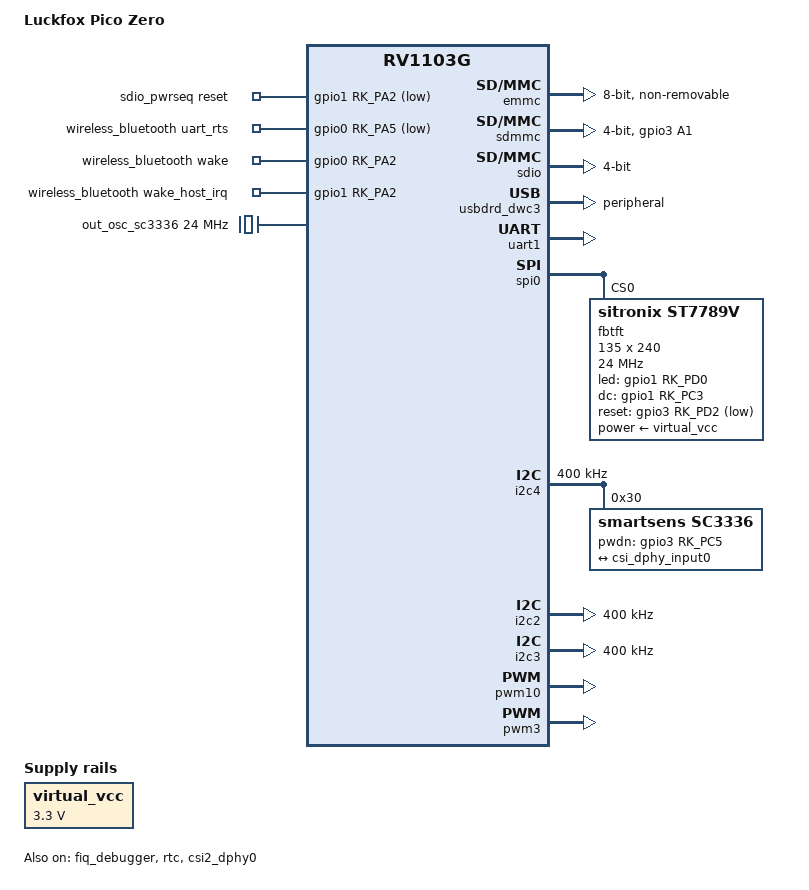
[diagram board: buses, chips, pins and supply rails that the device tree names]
// SPDX-License-Identifier: (GPL-2.0+ OR MIT)
/*
 * Copyright (c) 2022 Rockchip Electronics Co., Ltd.
 */

/dts-v1/;
#include "rv1106.dtsi"
#include "rv1106-luckfox-pico-zero-ipc.dtsi"
#include <dt-bindings/input/input.h>
#include <dt-bindings/display/media-bus-format.h>

/ {
	model = "Luckfox Pico Zero";
	compatible = "rockchip,rv1103g-38x38-ipc-v10", "rockchip,rv1106g3";

	restart-poweroff {
		compatible = "restart-poweroff";
	};

	sdio_pwrseq: sdio-pwrseq {
		compatible = "mmc-pwrseq-simple";
		pinctrl-names = "default";
		reset-gpios = <&gpio1 RK_PA2 GPIO_ACTIVE_LOW>;
	};

	wireless_bluetooth: wireless-bluetooth {
		compatible = "bluetooth-platdata";
		uart_rts_gpios = <&gpio0 RK_PA5 GPIO_ACTIVE_LOW>;
		pinctrl-names = "default", "rts_gpio";
		pinctrl-0 = <&uart1m0_rtsn>;
		pinctrl-1 = <&uart1_gpios>;
		BT,wake_gpio     = <&gpio0 RK_PA2 GPIO_ACTIVE_HIGH>;
		BT,wake_host_irq = <&gpio1 RK_PA2 GPIO_ACTIVE_HIGH>;
		status = "okay";
	};

	virtual_vcc: vcc-regulator {
		compatible = "regulator-fixed";
		regulator-name = "virtual-vcc";
		regulator-min-microvolt = <3300000>;
		regulator-max-microvolt = <3300000>;
		regulator-always-on;  // 标记为持续开启
	};

	// lcd_vcc: lcd-vcc {
	// 	compatible = "regulator-fixed";
	// 	regulator-name = "lcd-vcc";
	// 	pinctrl-names = "default";
	// 	pinctrl-0 = <&gpio3_pd1>;
	// 	regulator-min-microvolt = <3300000>;
	// 	regulator-max-microvolt = <3300000>;
	// 	regulator-always-on;  // 标记为持续开启
	// };

	adc-keys {
		status = "disabled";
	};

	out_osc_mia1321: out-osc-mia1321 {
		status = "disabled";
	};

	out_osc_imx415: out-osc-imx415 {
		status = "disabled";
	};

	out_osc_sc3336: out-osc-sc3336 {
		compatible = "fixed-clock";
		clock-output-names = "out-osc-sc3336";
		clock-frequency = <24000000>;
		#clock-cells = <0>;
	};

	cam_ircut0: cam_ircut {
		status = "disabled";
	};

};

/**********CRU**********/
&cru {
	assigned-clocks =
		<&cru PLL_GPLL>, <&cru PLL_CPLL>,
		<&cru ARMCLK>,
		<&cru ACLK_PERI_ROOT>, <&cru HCLK_PERI_ROOT>,
		<&cru PCLK_PERI_ROOT>, <&cru ACLK_BUS_ROOT>,
		<&cru PCLK_TOP_ROOT>, <&cru PCLK_PMU_ROOT>,
		<&cru HCLK_PMU_ROOT>, <&cru CLK_500M_SRC>;
	assigned-clock-rates =
		<1188000000>, <700000000>,
		<1104000000>,
		<400000000>, <200000000>,
		<100000000>, <300000000>,
		<100000000>, <100000000>,
		<200000000>, <700000000>;
};

/**********NPU**********/
&npu {
	assigned-clock-rates = <700000000>;
};

/**********EMMC**********/
&emmc {
	bus-width = <8>;
	cap-mmc-highspeed;
	non-removable;
	// mmc-hs200-1_8v;
	rockchip,default-sample-phase = <90>;
	no-sdio;
	no-sd;
	memory-region-ecsd = <&mmc_ecsd>;
	post-power-on-delay-ms = <0>;
	status = "okay";
};

&fiq_debugger {
	rockchip,irq-mode-enable = <1>;
	status = "okay";
};

/**********SDIO-WIFI**********/
&sdmmc {
	max-frequency = <50000000>;
	bus-width = <4>;
	cap-sd-highspeed;
	cap-sdio-irq;
	keep-power-in-suspend;
	//non-removable;
	rockchip,default-sample-phase = <90>;
	// no-sd;
	// no-mmc;
	supports-sdio;
	mmc-pwrseq = <&sdio_pwrseq>;
	pinctrl-names = "default";
	pinctrl-0 = <&sdmmc0_clk &sdmmc0_cmd &sdmmc0_bus4 &sdmmc0_det>;
	status = "okay";
};

&pinctrl{
	sdmmc0{
		sdmmc0_det: sdmmc0-det {
			rockchip,pins =
				/* sdmmc0_det */
				<3 RK_PA1 1 &pcfg_pull_up>;
		};
	};
};

/**********SD_CARD**********/
&sdio {
	max-frequency = <50000000>;
	no-sdio;
	no-mmc;
	supports-sd;
	bus-width = <4>;
	cap-mmc-highspeed;
	cap-sd-highspeed;
	disable-wp;
	pinctrl-names = "default";
	pinctrl-0 = <&sdmmc1m0_cmd &sdmmc1m0_clk &sdmmc1m0_bus4>;
	status = "okay";
};

/**********ETH**********/
&gmac {
	status = "disabled";
};

/**********USB**********/
&usbdrd_dwc3 {
	status = "okay";
	dr_mode = "peripheral";
	//dr_mode = "host";
};

/**********RTC**********/
&rtc {
	status = "okay";
};

/**********BT**********/
&uart1 {
	status = "okay";
	pinctrl-names = "default";
	pinctrl-0 = <&uart1m0_xfer &uart1m0_ctsn>;
};

&pinctrl {
	wireless-bluetooth {
		uart1_gpios: uart1-gpios {
			rockchip,pins = <0 RK_PA5 RK_FUNC_GPIO &pcfg_pull_none>;
		};
	};
};

&uart3 {
	status = "disabled";
};
&uart4 {
	status = "disabled";
};


/**********SPI**********/
&pinctrl {
	gpio1-pd0 {
		gpio1_pd0:gpio1-pd0 {
			rockchip,pins = <1 RK_PD0 RK_FUNC_GPIO &pcfg_pull_none>;
		};
	};
};

&spi0 {
	status = "okay";
	pinctrl-0 = <&spi0m0_clk &spi0m0_mosi &spi0m0_cs0>;

	spidev@0 {
		status = "disabled";
		spi-max-frequency = <50000000>;
	};

	fbtft@0{
		compatible = "sitronix,st7789v";
		reg = <0>;
		spi-max-frequency = <24000000>;
		fps = <60>;
		width = <135>;     // 水平分辨率
		height = <240>;    // 垂直分辨率
		x-offset = <40>;
		y-offset = <53>;
		rotate = <270>;
		buswidth = <8>;
		debug = <0x7>;
		power-supply = <&virtual_vcc>;
		led-gpios = <&gpio1 RK_PD0 GPIO_ACTIVE_HIGH>;		//BL
		dc-gpios = <&gpio1 RK_PC3 GPIO_ACTIVE_HIGH>;     	 //D-h C-l
		reset-gpios = <&gpio3 RK_PD2 GPIO_ACTIVE_LOW>;    //RES
		init = <
			0x1000001// 复位
			0x2000064// 延时 100 ms
			0x1000011// 退出睡眠模式
			0x2000078// 延时 120 ms  
			// 0x1000036 0x60//设置显示方向
			0x100003A 0x55// 设置颜色格式为 16 位 RGB
			0x1000020
			0x10000B2 0x01 0x01 0x00 0x01 0x01
			0x10000B7 0x35

			0x10000BB 0x35
			0x10000C0 0x2C
			0x10000C2 0x01
			0x10000C3 0x0B
			0x10000C4 0x20

			0x1000051 0xFF
			0x10000C6 0x00
			0x10000D0 0xA4 0xA1

			0x10000E0 0xD0 0x00 0x02 0x07 0x0B 0x1A 0x31 0x54 0x40 0x29 0x12 0x12 0x17 
			0x10000E1 0xD0 0x00 0x02 0x07 0x05 0x25 0x2D 0x44 0x45 0x1C 0x18 0x16 0x1C 

			0x1000021
			0x1000028
			0x1000029// 开启显示
		>;
	};

};

&csi2_dphy0 {
	status = "okay";

	ports {
		#address-cells = <1>;
		#size-cells = <0>;

		port@0 {
			reg = <0>;
			#address-cells = <1>;
			#size-cells = <0>;

			csi_dphy_input0: endpoint@0 {
				reg = <0>;
				remote-endpoint = <&sc3336_out>;
				data-lanes = <1 2>;
			};
		};

		port@1 {
			reg = <1>;
			#address-cells = <1>;
			#size-cells = <0>;

			csi_dphy_output: endpoint@0 {
					reg = <0>;
					remote-endpoint = <&mipi_csi2_input>;
			};
		};
	};
};

&i2c4 {
	status = "okay";
	clock-frequency = <400000>;
	pinctrl-names = "default";
	pinctrl-0 = <&i2c4m2_xfer>;

	sc3336: sc3336@30 {
		compatible = "smartsens,sc3336";
		status = "okay";
		reg = <0x30>;
		clocks = <&out_osc_sc3336>;
		clock-names = "xvclk";
		pwdn-gpios = <&gpio3 RK_PC5 GPIO_ACTIVE_HIGH>;
		pinctrl-names = "default";
		pinctrl-0 = <&mipi_refclk_out0>;
		rockchip,camera-module-index = <0>;
		rockchip,camera-module-facing = "back";
		rockchip,camera-module-name = "CMK-OT2119-PC1";
		rockchip,camera-module-lens-name = "30IRC-F16";
		port {
			sc3336_out: endpoint {
				remote-endpoint = <&csi_dphy_input0>;
				data-lanes = <1 2>;
			};
		};
	};

	mia1321: mia1321@60 {
		status = "disabled";
	};

	imx415: imx415@37 {
		status = "disabled";
	};
};

&pinctrl {
	cam {
		status = "disabled";
	};
};

&i2c2 {
	status = "okay";
	clock-frequency = <400000>;
	pinctrl-names = "default";
	pinctrl-0 = <&i2c2m0_xfer>;
};

&i2c3 {
	status = "okay";
	clock-frequency = <400000>;
	pinctrl-names = "default";
	pinctrl-0 = <&i2c3m0_xfer>;
};

//大灯
&pwm10 {
	status = "okay";
	pinctrl-0 = <&pwm10m2_pins>;
};
//rgb灯
&pwm3 {
	status = "okay";
	pinctrl-0 = <&pwm3m1_pins>;
};

&pwm0 {
	status = "disabled";
	pinctrl-0 = <&pwm0m1_pins>;
};
&pwm1 {
	status = "disabled";
	pinctrl-0 = <&pwm1m0_pins &pwm1m1_pins &pwm1m2_pins>;
};
&pwm2 {
	status = "disabled";
	pinctrl-0 = <&pwm2m0_pins &pwm2m1_pins &pwm2m2_pins>;
};

&pwm4 {
	status = "disabled";
	pinctrl-0 = <&pwm4m0_pins &pwm4m1_pins &pwm4m2_pins>;
};
&pwm5 {
	status = "disabled";
	pinctrl-0 = <&pwm5m1_pins &pwm5m2_pins>;
};
&pwm6 {
	status = "disabled";
	pinctrl-0 = <&pwm6m1_pins &pwm6m2_pins>;
};
&pwm7 {
	status = "disabled";
	pinctrl-0 = <&pwm7m0_pins &pwm7m1_pins>;
};
&pwm8 {
	status = "disabled";
	pinctrl-0 = <&pwm8m1_pins>;
};
&pwm9 {
	status = "disabled";
	pinctrl-0 = <&pwm9m1_pins>;
};
&pwm11 {
	status = "disabled";
	pinctrl-0 = <&pwm11m1_pins &pwm11m2_pins>;
};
